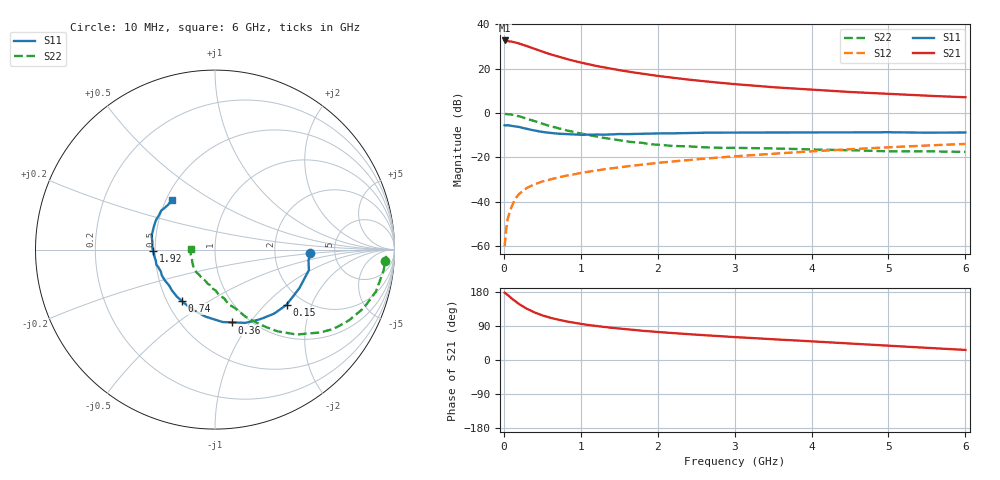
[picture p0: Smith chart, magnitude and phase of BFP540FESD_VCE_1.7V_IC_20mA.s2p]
! Infineon Technologies  Discrete & RF Semiconductors
! BFP540FESD
! VCE =  1.7 V,  IC =  20 mA
! Common Emitter S-Parameters:  Nov 2015
# GHz  S  MA  R  50
!  f  S11  S21  S12  S22
! GHz  MAG  ANG  MAG  ANG  MAG  ANG  MAG  ANG
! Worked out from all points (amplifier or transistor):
!   210 points, 10 MHz to 6 GHz, reference 50 ohm
!   highest |S21| = 32.7 dB at 10 MHz (marker M1)
!   |S21| within 3 dB of that: start of sweep to 336.4 MHz
!   unconditionally stable (mu >= 1): 1.712 GHz to end of sweep
!   at 185 MHz: K = 0.28, MSG = 34.3 dB, |S12| = -37.0 dB
!   at 1.52 GHz: K = 0.97, MSG = 21.8 dB, |S12| = -24.4 dB
!   at 6 GHz: K = 1.17, MAG = 8.0 dB, |S12| = -13.9 dB
!   S11 on the Smith chart (normalised r, x): 10 MHz: 3.27, -0.15; 150 MHz: 1.63, -1.35; 360 MHz: 0.84, -0.82; 740 MHz: 0.59, -0.38; 1.92 GHz: 0.49, -0.01; 6 GHz: 0.54, +0.34
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0.01  0.532 -1.8  43.3 177.7  0.001 105.0  0.9466 -3.7
0.02  0.5245 -6.6  41.79 176.5  0.0015 65.8  0.9542 -2.4
0.05  0.5355 -12.3  42 171.4  0.0041 87.3  0.9464 -7.1
0.1  0.5169 -24.6  40.74 162.8  0.0076 79.7  0.9265 -14.6
0.15  0.5035 -37.7  39.28 154.9  0.0117 77.7  0.8901 -21.5
0.2  0.4853 -47.4  36.94 147.4  0.0151 74.6  0.8443 -27.8
0.24  0.4651 -55.6  35.05 142.3  0.0172 71.6  0.8062 -32.3
0.3  0.4415 -67.6  32.33 135.1  0.0206 68.2  0.7473 -38.1
0.36  0.4161 -77.1  29.62 129.6  0.023 65.5  0.6908 -42.7
0.4  0.406 -83.9  27.99 125.4  0.0247 64.0  0.6559 -46.2
0.5  0.3772 -98.0  24.35 117.7  0.0287 63.0  0.5742 -52.5
0.6  0.359 -109.5  21.25 111.6  0.0319 61.4  0.5093 -57.2
0.74  0.3405 -123.0  18.04 105.0  0.0364 61.1  0.4399 -62.8
0.9  0.3306 -136.5  15.14 98.5  0.0412 60.9  0.3761 -68.2
1.02  0.3248 -143.6  13.53 94.7  0.0453 60.7  0.3406 -71.7
1.4  0.3299 -162.4  9.957 85.0  0.0571 60.5  0.2597 -83.6
1.92  0.345 -178.5  7.198 75.4  0.0731 58.7  0.1977 -99.1
2.02  0.3489 178.2  6.819 73.6  0.0759 58.0  0.1933 -102.7
3.1  0.3636 160.7  4.357 59.4  0.1088 53.4  0.1633 -128.7
4.1  0.3671 151.9  3.281 48.1  0.1405 47.8  0.1504 -144.8
5.1  0.3679 142.7  2.657 36.6  0.1725 40.1  0.1372 -160.9
6  0.3652 131.4  2.273 26.6  0.2017 32.9  0.1333 179.2
